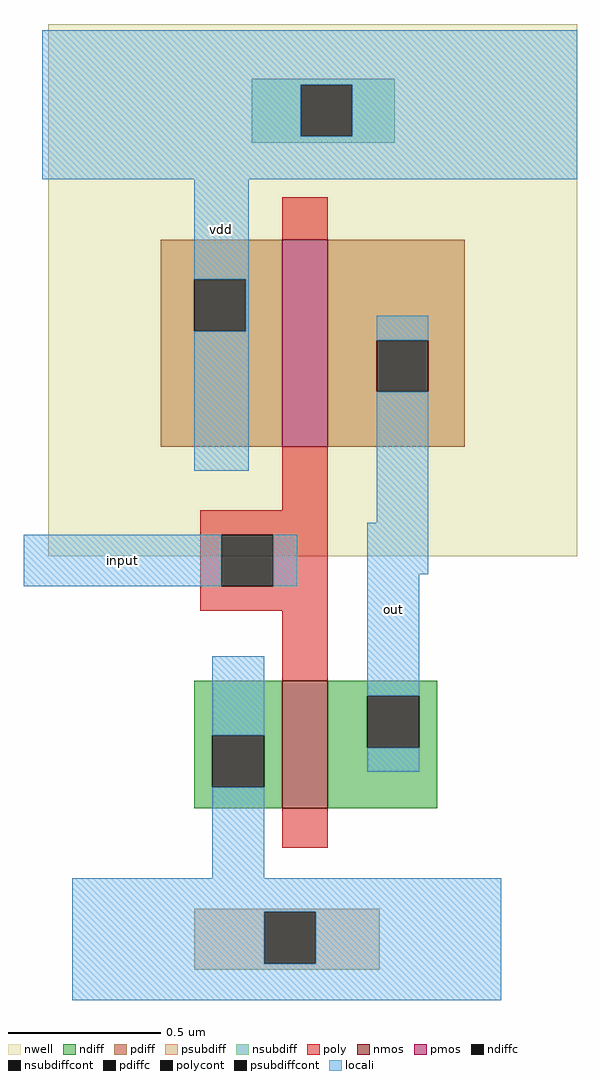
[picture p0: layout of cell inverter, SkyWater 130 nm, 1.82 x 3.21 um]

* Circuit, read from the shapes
.subckt inverter input out vdd
XM1 out input VSUBS VSUBS sky130_fd_pr__nfet_01v8 w=0.42 l=0.15
XM2 out input vdd vdd sky130_fd_pr__pfet_01v8 w=0.68 l=0.15
.ends

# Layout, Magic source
magic
tech sky130A
<< nwell >>
rect 32 -104 206 71
<< nmos >>
rect 109 -187 124 -145
<< pmos >>
rect 109 -68 124 0
<< ndiff >>
rect 80 -163 109 -145
rect 80 -180 86 -163
rect 103 -180 109 -163
rect 80 -187 109 -180
rect 124 -150 160 -145
rect 124 -167 137 -150
rect 154 -167 160 -150
rect 124 -187 160 -167
<< pdiff >>
rect 69 -13 109 0
rect 69 -30 80 -13
rect 97 -30 109 -13
rect 69 -68 109 -30
rect 124 -33 169 0
rect 124 -50 140 -33
rect 157 -50 169 -33
rect 124 -68 169 -50
<< ndiffc >>
rect 86 -180 103 -163
rect 137 -167 154 -150
<< pdiffc >>
rect 80 -30 97 -13
rect 140 -50 157 -33
<< psubdiff >>
rect 80 -221 141 -220
rect 80 -238 103 -221
rect 120 -238 141 -221
rect 80 -240 141 -238
<< nsubdiff >>
rect 99 51 146 53
rect 99 34 115 51
rect 132 34 146 51
rect 99 32 146 34
<< psubdiffcont >>
rect 103 -238 120 -221
<< nsubdiffcont >>
rect 115 34 132 51
<< poly >>
rect 109 0 124 14
rect 109 -89 124 -68
rect 82 -97 124 -89
rect 82 -114 89 -97
rect 106 -114 124 -97
rect 82 -122 124 -114
rect 109 -145 124 -122
rect 109 -200 124 -187
<< polycont >>
rect 89 -114 106 -97
<< locali >>
rect 30 51 206 69
rect 30 34 115 51
rect 132 34 206 51
rect 30 20 206 34
rect 80 -13 98 20
rect 97 -30 98 -13
rect 80 -76 98 -30
rect 140 -33 157 -25
rect 140 -93 157 -50
rect 24 -114 89 -97
rect 106 -114 114 -97
rect 137 -110 157 -93
rect 86 -163 103 -137
rect 137 -150 154 -110
rect 137 -175 154 -167
rect 86 -210 103 -180
rect 40 -221 181 -210
rect 40 -238 103 -221
rect 120 -238 181 -221
rect 40 -250 181 -238
<< labels >>
rlabel locali 80 -13 98 20 1 vdd
rlabel locali 24 -114 89 -97 1 input
rlabel locali 137 -150 154 -93 1 out
<< end >>
